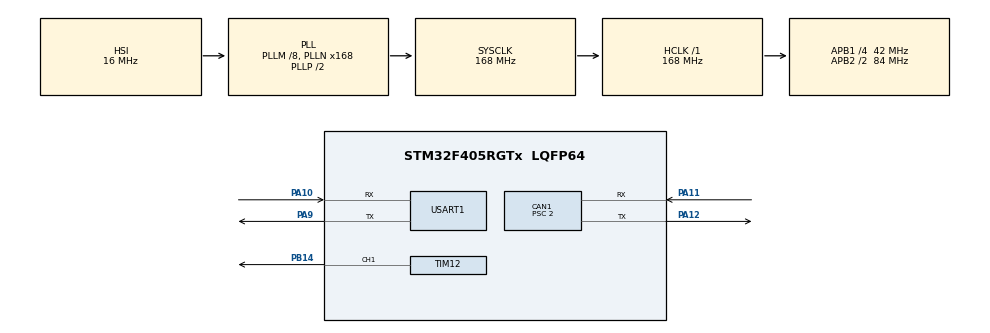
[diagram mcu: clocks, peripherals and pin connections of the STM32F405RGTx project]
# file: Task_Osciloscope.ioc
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CAN1.BS1=CAN_BS1_15TQ
CAN1.BS2=CAN_BS2_5TQ
CAN1.CalculateBaudRate=1000000
CAN1.CalculateTimeBit=999.99
CAN1.CalculateTimeQuantum=47.61904761904762
CAN1.Prescaler=2
CAN1.SJW=CAN_SJW_2TQ
FREERTOS.Tasks01=defaultTask,32,128,StartDefaultTask,Default,NULL,Dynamic,NULL,NULL;canTask,8,128,StartCanTask,Default,NULL,Dynamic,NULL,NULL;uartTask,8,128,StartUartTask,Default,NULL,Dynamic,NULL,NULL;pwmTask,8,128,StartPwmTask,Default,NULL,Dynamic,NULL,NULL
Mcu.Family=STM32F4
Mcu.Name=STM32F405RGTx
Mcu.Package=LQFP64
NVIC.PriorityGroup=NVIC_PRIORITYGROUP_4
NVIC.TIM7_IRQn=true\:15\:0\:false\:false\:true\:false\:false\:true
NVIC.TimeBase=TIM7_IRQn
NVIC.TimeBaseIP=TIM7
PA10.Mode=Asynchronous
PA10.Signal=USART1_RX
PA11.Mode=CAN_Activate
PA11.Signal=CAN1_RX
PA12.Mode=CAN_Activate
PA12.Signal=CAN1_TX
PA13.Mode=Serial_Wire
PA13.Signal=SYS_JTMS-SWDIO
PA14.Mode=Serial_Wire
PA14.Signal=SYS_JTCK-SWCLK
PA9.Mode=Asynchronous
PA9.Signal=USART1_TX
PB14.Signal=S_TIM12_CH1
PC14-OSC32_IN.Mode=LSE-External-Oscillator
PC14-OSC32_IN.Signal=RCC_OSC32_IN
PC15-OSC32_OUT.Mode=LSE-External-Oscillator
PC15-OSC32_OUT.Signal=RCC_OSC32_OUT
PH0-OSC_IN.Mode=HSE-External-Oscillator
PH0-OSC_IN.Signal=RCC_OSC_IN
PH1-OSC_OUT.Mode=HSE-External-Oscillator
PH1-OSC_OUT.Signal=RCC_OSC_OUT
ProjectManager.HeapSize=0x200
ProjectManager.StackSize=0x400
ProjectManager.TargetToolchain=MDK-ARM V5.32
RCC.48MHZClocksFreq_Value=84000000
RCC.AHBFreq_Value=168000000
RCC.APB1CLKDivider=RCC_HCLK_DIV4
RCC.APB1Freq_Value=42000000
RCC.APB1TimFreq_Value=84000000
RCC.APB2CLKDivider=RCC_HCLK_DIV2
RCC.APB2Freq_Value=84000000
RCC.APB2TimFreq_Value=168000000
RCC.CortexFreq_Value=168000000
RCC.HCLKFreq_Value=168000000
RCC.HSE_VALUE=25000000
RCC.HSI_VALUE=16000000
RCC.PLLM=8
RCC.PLLN=168
RCC.SYSCLKFreq_VALUE=168000000
RCC.SYSCLKSource=RCC_SYSCLKSOURCE_PLLCLK
RCC.VCOOutputFreq_Value=336000000
SH.S_TIM12_CH1.0=TIM12_CH1,PWM Generation1 CH1
TIM12.Channel-PWM\ Generation1\ CH1=TIM_CHANNEL_1
TIM12.Period=100
TIM12.Prescaler=168
USART1.VirtualMode=VM_ASYNC
VP_FREERTOS_VS_CMSIS_V2.Mode=CMSIS_V2
VP_SYS_VS_tim7.Mode=TIM7
board=custom

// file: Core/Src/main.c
/* USER CODE BEGIN Header */
/**
  ******************************************************************************
  * @file           : main.c
  * @brief          : Main program body
  ******************************************************************************
  * @attention
  *
  * <h2><center>&copy; Copyright (c) 2024 STMicroelectronics.
  * All rights reserved.</center></h2>
  *
  * This software component is licensed by ST under Ultimate Liberty license
  * SLA0044, the "License"; You may not use this file except in compliance with
  * the License. You may obtain a copy of the License at:
  *                             www.st.com/SLA0044
  *
  ******************************************************************************
  */
/* USER CODE END Header */
#include "main.h"
#include "cmsis_os.h"
#include "can.h"
#include "tim.h"
#include "usart.h"
#include "gpio.h"

void SystemClock_Config(void);
void MX_FREERTOS_Init(void);

int main(void)
{

  /* MCU Configuration--------------------------------------------------------*/

  /* Reset of all peripherals, Initializes the Flash interface and the Systick. */
  HAL_Init();

  /* Configure the system clock */
  SystemClock_Config();

  /* Initialize all configured peripherals */
  MX_GPIO_Init();
  MX_CAN1_Init();
  MX_TIM12_Init();
  MX_USART1_UART_Init();

  /* Init scheduler */
  osKernelInitialize();  /* Call init function for freertos objects (in freertos.c) */
  MX_FREERTOS_Init();
  /* Start scheduler */
  osKernelStart();

  /* We should never get here as control is now taken by the scheduler */
  /* Infinite loop */
  while (1)
  {

  }
}

void SystemClock_Config(void)
{
  RCC_OscInitTypeDef RCC_OscInitStruct = {0};
  RCC_ClkInitTypeDef RCC_ClkInitStruct = {0};

  /** Configure the main internal regulator output voltage
  */
  __HAL_RCC_PWR_CLK_ENABLE();
  __HAL_PWR_VOLTAGESCALING_CONFIG(PWR_REGULATOR_VOLTAGE_SCALE1);
  /** Initializes the RCC Oscillators according to the specified parameters
  * in the RCC_OscInitTypeDef structure.
  */
  RCC_OscInitStruct.OscillatorType = RCC_OSCILLATORTYPE_HSI;
  RCC_OscInitStruct.HSIState = RCC_HSI_ON;
  RCC_OscInitStruct.HSICalibrationValue = RCC_HSICALIBRATION_DEFAULT;
  RCC_OscInitStruct.PLL.PLLState = RCC_PLL_ON;
  RCC_OscInitStruct.PLL.PLLSource = RCC_PLLSOURCE_HSI;
  RCC_OscInitStruct.PLL.PLLM = 8;
  RCC_OscInitStruct.PLL.PLLN = 168;
  RCC_OscInitStruct.PLL.PLLP = RCC_PLLP_DIV2;
  RCC_OscInitStruct.PLL.PLLQ = 4;
  if (HAL_RCC_OscConfig(&RCC_OscInitStruct) != HAL_OK)
  {
    Error_Handler();
  }
  /** Initializes the CPU, AHB and APB buses clocks
  */
  RCC_ClkInitStruct.ClockType = RCC_CLOCKTYPE_HCLK|RCC_CLOCKTYPE_SYSCLK
                              |RCC_CLOCKTYPE_PCLK1|RCC_CLOCKTYPE_PCLK2;
  RCC_ClkInitStruct.SYSCLKSource = RCC_SYSCLKSOURCE_PLLCLK;
  RCC_ClkInitStruct.AHBCLKDivider = RCC_SYSCLK_DIV1;
  RCC_ClkInitStruct.APB1CLKDivider = RCC_HCLK_DIV4;
  RCC_ClkInitStruct.APB2CLKDivider = RCC_HCLK_DIV2;

  if (HAL_RCC_ClockConfig(&RCC_ClkInitStruct, FLASH_LATENCY_5) != HAL_OK)
  {
    Error_Handler();
  }
}

void HAL_TIM_PeriodElapsedCallback(TIM_HandleTypeDef *htim)
{
  if (htim->Instance == TIM7) {
    HAL_IncTick();
  }
}

void Error_Handler(void)
{
  __disable_irq();
  while (1)
  {
  }
}

/************************ (C) COPYRIGHT STMicroelectronics *****END OF FILE****/

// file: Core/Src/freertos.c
/* USER CODE BEGIN Header */
/**
  ******************************************************************************
  * File Name          : freertos.c
  * Description        : Code for freertos applications
  ******************************************************************************
  * @attention
  *
  * <h2><center>&copy; Copyright (c) 2024 STMicroelectronics.
  * All rights reserved.</center></h2>
  *
  * This software component is licensed by ST under Ultimate Liberty license
  * SLA0044, the "License"; You may not use this file except in compliance with
  * the License. You may obtain a copy of the License at:
  *                             www.st.com/SLA0044
  *
  ******************************************************************************
  */
/* USER CODE END Header */

#include "FreeRTOS.h"
#include "task.h"
#include "main.h"
#include "cmsis_os.h"

/* USER CODE BEGIN Includes */
#include "usart.h"
#include "can.h"
#include "tim.h"
#include "stdio.h"
/* USER CODE END Includes */

/* USER CODE BEGIN PTD */

// 枚举类型定义电机ID
typedef enum MotorId
{
	  MOTOR_ID_1 = 1,  // 电机1
    MOTOR_ID_2 = 2,  // 电机2
    MOTOR_ID_3 = 3,  // 电机3
    MOTOR_ID_4 = 4,  // 电机4
    MOTOR_ID_5 = 5,  // 电机5
    MOTOR_ID_6 = 6,  // 电机6
    MOTOR_ID_7 = 7,  // 电机7

} MotorId_t;
/* USER CODE END PTD */

/* Definitions for defaultTask */
osThreadId_t defaultTaskHandle;
const osThreadAttr_t defaultTask_attributes = {
  .name = "defaultTask",
  .stack_size = 128 * 4,
  .priority = (osPriority_t) osPriorityAboveNormal,
};
/* Definitions for canTask */
osThreadId_t canTaskHandle;
const osThreadAttr_t canTask_attributes = {
  .name = "canTask",
  .stack_size = 128 * 4,
  .priority = (osPriority_t) osPriorityLow,
};
/* Definitions for uartTask */
osThreadId_t uartTaskHandle;
const osThreadAttr_t uartTask_attributes = {
  .name = "uartTask",
  .stack_size = 128 * 4,
  .priority = (osPriority_t) osPriorityLow,
};
/* Definitions for pwmTask */
osThreadId_t pwmTaskHandle;
const osThreadAttr_t pwmTask_attributes = {
  .name = "pwmTask",
  .stack_size = 128 * 4,
  .priority = (osPriority_t) osPriorityLow,
};

/* USER CODE BEGIN FunctionPrototypes */
void DriveDjMotor(CAN_HandleTypeDef* hcan,MotorId_t motorId,int16_t motorVoltage);
/* USER CODE END FunctionPrototypes */

void StartDefaultTask(void *argument);
void StartCanTask(void *argument);
void StartUartTask(void *argument);
void StartPwmTask(void *argument);

void MX_FREERTOS_Init(void); /* (MISRA C 2004 rule 8.1) */

void MX_FREERTOS_Init(void) {

  /* Create the thread(s) */
  /* creation of defaultTask */
  defaultTaskHandle = osThreadNew(StartDefaultTask, NULL, &defaultTask_attributes);

  /* creation of canTask */
  canTaskHandle = osThreadNew(StartCanTask, NULL, &canTask_attributes);

  /* creation of uartTask */
  uartTaskHandle = osThreadNew(StartUartTask, NULL, &uartTask_attributes);

  /* creation of pwmTask */
  pwmTaskHandle = osThreadNew(StartPwmTask, NULL, &pwmTask_attributes);

}

void StartDefaultTask(void *argument)
{
  /* USER CODE BEGIN StartDefaultTask */
  /* Infinite loop */
  for(;;)
  {
		taskENTER_CRITICAL(); //进入临界区，防止初始化被打断造成异常

		HAL_TIM_Base_Start(&htim12);              //开启TIM12时基
		HAL_TIM_PWM_Start(&htim12,TIM_CHANNEL_1); //开启PWM输出
		HAL_CAN_Start(&hcan1);                    //开启CAN

		taskEXIT_CRITICAL(); //初始化完成，退出临界区
		vTaskDelete(NULL);                        //初始化完成，删掉自己

  }
  /* USER CODE END StartDefaultTask */
}

void StartCanTask(void *argument)
{
  /* USER CODE BEGIN StartCanTask */

	TickType_t xLastWakeTime;
	/* 获得当前的Tick Count */
	xLastWakeTime = xTaskGetTickCount();

  /* Infinite loop */
  for(;;)
  {

		//输出控制电机的CAN报文
		taskENTER_CRITICAL();
		DriveDjMotor(&hcan1,MOTOR_ID_1,2000);
		taskEXIT_CRITICAL();

		//(这个延时函数会自动更新xLastWakeTime,只要第一次进入任务时获取了系统时间即可)
    vTaskDelayUntil(&xLastWakeTime, pdMS_TO_TICKS(10));//10ms控制一次电机

  }
  /* USER CODE END StartCanTask */
}

void StartUartTask(void *argument)
{
  /* USER CODE BEGIN StartUartTask */

	TickType_t xLastWakeTime;
	/* 获得当前的Tick Count */
	xLastWakeTime = xTaskGetTickCount();

  /* Infinite loop */
  for(;;)
  {
		taskENTER_CRITICAL();
		printf("ZMS");         //打印ZMS
		taskEXIT_CRITICAL();

		//(这个延时函数会自动更新xLastWakeTime,只要第一次进入任务时获取了系统时间即可)
    vTaskDelayUntil(&xLastWakeTime, pdMS_TO_TICKS(100));
  }
  /* USER CODE END StartUartTask */
}

void StartPwmTask(void *argument)
{
  /* USER CODE BEGIN StartPwmTask */

	TickType_t xLastWakeTime;
	/* 获得当前的Tick Count */
	xLastWakeTime = xTaskGetTickCount();
	uint8_t i=0;
  /* Infinite loop */
  for(;;)
  {

		__HAL_TIM_SetCompare(&htim12, TIM_CHANNEL_1,i);

		//更新i,每次进入该函数设置不同的占空比，实现占空比的周期性变化
		if(i<100) i+=5;
    else i=0;

		//(这个延时函数会自动更新xLastWakeTime,只要第一次进入任务时获取了系统时间即可)
    vTaskDelayUntil(&xLastWakeTime, pdMS_TO_TICKS(1)); //占空比周期性变化，频率约等于47hz
  }
  /* USER CODE END StartPwmTask */
}

/* USER CODE BEGIN Application */

/*
* @brief : 通过CAN驱动Dj电机
* @param1: 通过哪个CAN发送控制电机的报文
* @param2: 电机ID 参数可以是下面的几个 @arg MotorId_t
* @param3: 电机转动电压 -25000~25000
*/

void DriveDjMotor(CAN_HandleTypeDef* hcan,MotorId_t motorId,int16_t motorVoltage)
{
	   // 根据角度计算电压值 (-25000 ~ 25000)

    // 获取高 8 位和低 8 位
    uint8_t highByte = (motorVoltage >> 8) & 0xFF; // 右移 8 位并取高 8 位
    uint8_t lowByte = motorVoltage & 0xFF;         // 取低 8 位

    // 初始化 CAN 消息
    CanMessage_t canMessageTx =
	  {
        .TxHeader =
			  {
					.StdId = (motorId > 4) ? 0x2FF : 0x1FF,  //电机ID>4,则标识符ID为0x2FF，否则为0x1FF
            .IDE = CAN_ID_STD,        // 设置为标准 ID
            .RTR = CAN_RTR_DATA,      // 数据帧
            .DLC = 8                  // 数据长度
        },
        .TxDataBuf = {0, 0, 0, 0, 0, 0, 0, 0}  // 初始化数据缓冲区
    };

    // 根据电机 ID 设置相应的电压值
    switch (motorId)
		{
        case MOTOR_ID_1:
				case MOTOR_ID_5:
            canMessageTx.TxDataBuf[0] = highByte;
            canMessageTx.TxDataBuf[1] = lowByte;
            break;

        case MOTOR_ID_2:
				case MOTOR_ID_6:
            canMessageTx.TxDataBuf[2] = highByte;
            canMessageTx.TxDataBuf[3] = lowByte;
            break;

        case MOTOR_ID_3:
				case MOTOR_ID_7:
            canMessageTx.TxDataBuf[4] = highByte;
            canMessageTx.TxDataBuf[5] = lowByte;
            break;

        case MOTOR_ID_4:
            canMessageTx.TxDataBuf[6] = highByte;
            canMessageTx.TxDataBuf[7] = lowByte;
            break;
        default:
            return;  // 无效的电机ID
    }

    // 发送 CAN 消息
    SendCanMessage(hcan, &canMessageTx);
}

/* USER CODE END Application */

/************************ (C) COPYRIGHT STMicroelectronics *****END OF FILE****/
